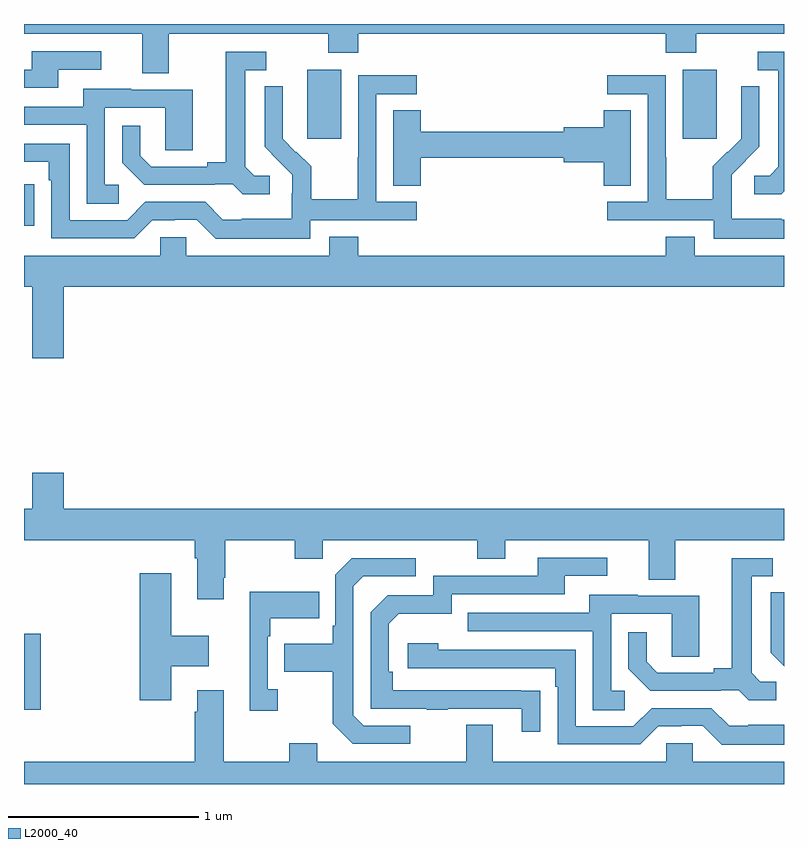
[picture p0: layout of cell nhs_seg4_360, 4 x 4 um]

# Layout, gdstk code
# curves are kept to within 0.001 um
import gdstk
lib = gdstk.Library(unit=1e-6, precision=1e-09)
def R(c, l, rs):  # rectangles x0, y0, x1, y1
    for r in rs: c.add(gdstk.rectangle(r[:2], r[2:], *l))
def P(c, l, *ps):  # polygons
    for p in ps: c.add(gdstk.Polygon(p, *l))
L2000_40 = (2000, 40)

nhs_seg4_360 = lib.new_cell('nhs_seg4_360')
R(nhs_seg4_360, L2000_40, [(129,765.291,129.089,765.692), (129,767.838,129.053,768.056), (130.49,768.297,130.669,768.658), (132.467,768.297,132.646,768.658)])
P(nhs_seg4_360, L2000_40, [(129.763,768.848),(130.6,768.848),(130.6,768.749),(130.76,768.749),(130.76,768.848),(132.377,768.848),(132.377,768.749),(132.537,768.749),(132.537,768.848),(133,768.848),(133,768.9),(129,768.9),(129,768.848),(129.623,768.848),(129.623,768.64),(129.763,768.64)],
  [(129.181,768.66),(129.406,768.66),(129.406,768.756),(129.041,768.756),(129.041,768.66),(129,768.66),(129,768.564),(129.181,768.564)],
  [(130.294,768.102),(130.212,768.102),(130.165,768.149),(130.165,768.657),(130.276,768.657),(130.276,768.753),(130.061,768.753),(130.061,768.173),(129.965,768.173),(129.965,768.15),(129.67,768.15),(129.613,768.207),(129.613,768.364),(129.516,768.364),(129.516,768.17),(129.632,768.054),(130.004,768.054),(130.004,768.057),(130.098,768.057),(130.15,768.005),(130.294,768.005)],
  [(133,768.019),(133,768.753),(132.861,768.753),(132.861,768.657),(132.971,768.657),(132.971,768.149),(132.924,768.102),(132.843,768.102),(132.843,768.005),(132.986,768.005)],
  [(130.506,767.868),(131.068,767.868),(131.068,767.964),(130.854,767.964),(130.854,768.531),(131.068,768.531),(131.068,768.63),(130.758,768.63),(130.758,768.2),(130.756,768.2),(130.756,767.977),(130.511,767.977),(130.511,768.151),(130.434,768.228),(130.431,768.225),(130.361,768.296),(130.362,768.572),(130.266,768.572),(130.266,768.254),(130.412,768.106),(130.412,768.009),(130.41,768.009),(130.41,767.875),(130.147,767.875),(130.147,767.871),(130.047,767.871),(129.954,767.964),(129.639,767.964),(129.543,767.868),(129.24,767.868),(129.24,768.27),(129,768.27),(129,768.174),(129.131,768.174),(129.131,768.077),(129.144,768.077),(129.144,767.772),(129.579,767.772),(129.675,767.868),(129.794,767.868),(129.794,767.871),(129.909,767.871),(130.009,767.771),(130.506,767.771)],
  [(133,767.871),(132.989,767.871),(132.989,767.875),(132.726,767.875),(132.726,768.009),(132.724,768.009),(132.724,768.106),(132.87,768.254),(132.87,768.572),(132.774,768.572),(132.774,768.418),(132.776,768.418),(132.776,768.296),(132.705,768.225),(132.702,768.228),(132.625,768.151),(132.625,767.977),(132.381,767.977),(132.381,768.2),(132.378,768.2),(132.378,768.63),(132.069,768.63),(132.069,768.531),(132.282,768.531),(132.282,767.964),(132.069,767.964),(132.069,767.868),(132.63,767.868),(132.63,767.771),(133,767.771)],
  [(129.499,768.054),(129.426,768.054),(129.426,768.459),(129.744,768.459),(129.744,768.235),(129.889,768.235),(129.889,768.555),(129.565,768.555),(129.565,768.559),(129.311,768.559),(129.311,768.465),(129,768.465),(129,768.369),(129.33,768.369),(129.33,767.953),(129.499,767.953)],
  [(131.087,768.196),(131.84,768.196),(131.84,768.173),(132.05,768.173),(132.05,768.049),(132.193,768.049),(132.193,768.446),(132.05,768.446),(132.05,768.356),(131.84,768.356),(131.84,768.332),(131.087,768.332),(131.087,768.446),(130.943,768.446),(130.943,768.049),(131.087,768.049)],
  [(129.208,767.516),(133,767.516),(133,767.68),(132.529,767.68),(132.529,767.779),(132.377,767.779),(132.377,767.68),(130.76,767.68),(130.76,767.779),(130.607,767.779),(130.607,767.68),(129.855,767.68),(129.855,767.778),(129.717,767.778),(129.717,767.68),(129,767.68),(129,767.516),(129.044,767.516),(129.044,767.142),(129.208,767.142)],
  [(130.051,765.985),(130.059,765.985),(130.059,766.184),(130.426,766.184),(130.426,766.085),(130.572,766.085),(130.572,766.184),(131.386,766.184),(131.386,766.085),(131.533,766.085),(131.533,766.184),(132.287,766.184),(132.287,765.976),(132.427,765.976),(132.427,766.184),(133,766.184),(133,766.348),(129.208,766.348),(129.208,766.537),(129.044,766.537),(129.044,766.348),(129,766.348),(129,766.184),(129.899,766.184),(129.899,766.088),(129.911,766.088),(129.911,765.873),(130.051,765.873)],
  [(131.717,765.392),(130.94,765.393),(130.94,765.49),(130.92,765.49),(130.92,765.744),(130.973,765.797),(131.25,765.797),(131.25,765.9),(131.845,765.9),(131.845,765.996),(132.07,765.996),(132.07,766.092),(131.705,766.092),(131.705,765.996),(131.154,765.996),(131.154,765.894),(130.914,765.894),(130.824,765.804),(130.824,765.297),(131.119,765.297),(131.119,765.292),(131.231,765.292),(131.231,765.297),(131.621,765.297),(131.621,765.174),(131.717,765.174)],
  [(132.958,765.438),(132.876,765.438),(132.829,765.485),(132.829,765.993),(132.94,765.993),(132.94,766.089),(132.725,766.089),(132.725,765.509),(132.629,765.509),(132.629,765.486),(132.334,765.486),(132.277,765.543),(132.277,765.7),(132.18,765.7),(132.18,765.506),(132.296,765.39),(132.668,765.39),(132.668,765.393),(132.762,765.393),(132.814,765.341),(132.958,765.341)],
  [(131.032,765.207),(130.788,765.207),(130.734,765.261),(130.734,765.942),(130.785,765.993),(131.062,765.993),(131.062,766.089),(130.725,766.089),(130.638,766.002),(130.638,765.733),(130.626,765.733),(130.626,765.637),(130.369,765.637),(130.369,765.49),(130.626,765.49),(130.626,765.217),(130.731,765.111),(131.032,765.111)],
  [(129.775,765.521),(129.973,765.521),(129.973,765.679),(129.775,765.679),(129.775,766.009),(129.608,766.009),(129.608,765.342),(129.775,765.342)],
  [(130.336,765.398),(130.284,765.398),(130.284,765.677),(130.297,765.677),(130.297,765.773),(130.553,765.773),(130.553,765.913),(130.187,765.913),(130.187,765.285),(130.336,765.285)],
  [(133,765.908),(132.93,765.908),(132.93,765.59),(133,765.52)],
  [(132.163,765.39),(132.09,765.39),(132.09,765.795),(132.408,765.795),(132.408,765.571),(132.553,765.571),(132.553,765.891),(132.229,765.891),(132.229,765.895),(131.975,765.895),(131.975,765.801),(131.335,765.801),(131.335,765.705),(131.994,765.705),(131.994,765.289),(132.163,765.289)],
  [(133,765.211),(132.811,765.211),(132.811,765.207),(132.711,765.207),(132.618,765.3),(132.303,765.3),(132.207,765.204),(131.904,765.204),(131.904,765.606),(131.18,765.606),(131.18,765.64),(131.019,765.64),(131.019,765.51),(131.795,765.51),(131.795,765.413),(131.808,765.413),(131.808,765.108),(132.243,765.108),(132.339,765.204),(132.458,765.204),(132.458,765.207),(132.573,765.207),(132.673,765.107),(133,765.107)],
  [(133,765.016),(132.519,765.016),(132.519,765.114),(132.381,765.114),(132.381,765.016),(131.467,765.016),(131.467,765.211),(131.327,765.211),(131.327,765.016),(130.543,765.016),(130.543,765.115),(130.396,765.115),(130.396,765.016),(130.051,765.016),(130.051,765.394),(129.911,765.394),(129.911,765.281),(129.899,765.281),(129.899,765.016),(129,765.016),(129,764.9),(133,764.9)])

lib.write_gds('nhs_seg4_360.gds')
